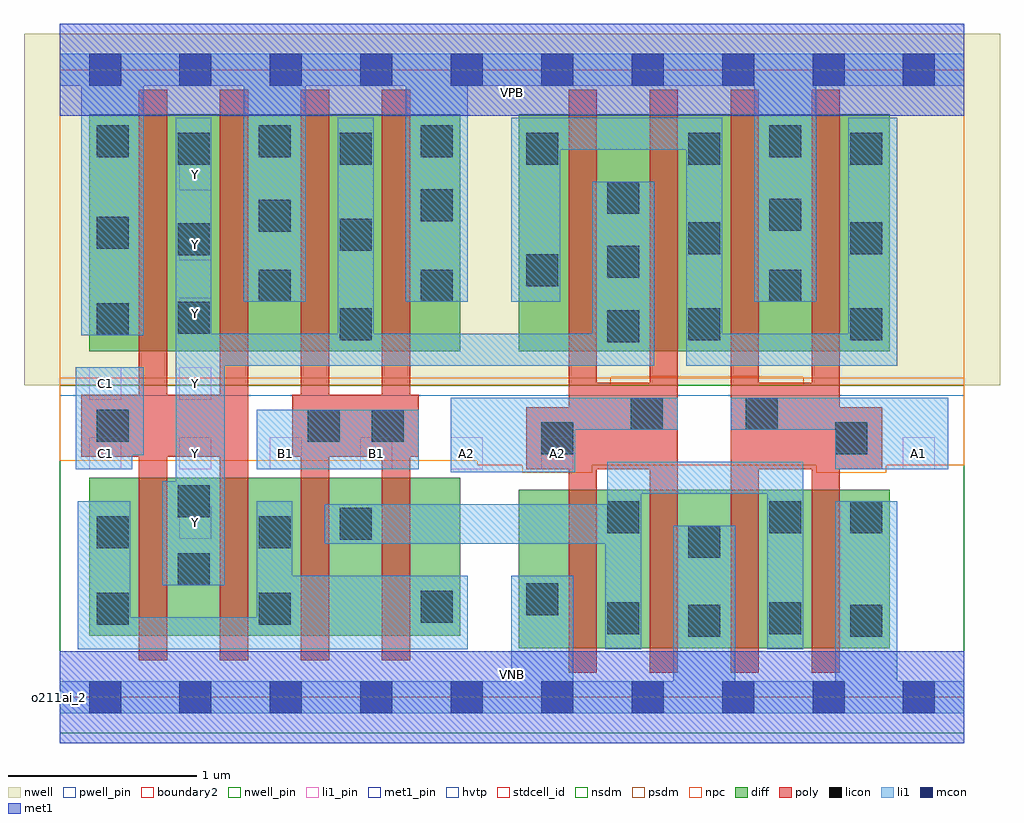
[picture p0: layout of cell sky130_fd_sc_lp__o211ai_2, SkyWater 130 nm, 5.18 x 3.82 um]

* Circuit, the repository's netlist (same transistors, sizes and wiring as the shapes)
* Copyright 2020 The SkyWater PDK Authors
*
* Licensed under the Apache License, Version 2.0 (the "License");
* you may not use this file except in compliance with the License.
* You may obtain a copy of the License at
*
*     https://www.apache.org/licenses/LICENSE-2.0
*
* Unless required by applicable law or agreed to in writing, software
* distributed under the License is distributed on an "AS IS" BASIS,
* WITHOUT WARRANTIES OR CONDITIONS OF ANY KIND, either express or implied.
* See the License for the specific language governing permissions and
* limitations under the License.
*
* SPDX-License-Identifier: Apache-2.0

.SUBCKT sky130_fd_sc_lp__o211ai_2 A1 A2 B1 C1 VGND VNB VPB VPWR Y
*.PININFO A1:I A2:I B1:I C1:I VGND:I VNB:I VPB:I VPWR:I Y:O
MMPA0 VPWR A1 sndA1 VPB sky130_fd_pr__pfet_01v8_hvt m=2 w=1.26U l=0.15U mult=1
+ sa=0.265 sb=0.265 sd=0.28 area=0.063 perim=1.14
MMPA1 sndA1 A2 Y VPB sky130_fd_pr__pfet_01v8_hvt m=2 w=1.26U l=0.15U mult=1 sa=0.265
+ sb=0.265 sd=0.28 area=0.063 perim=1.14
MMPB0 VPWR B1 Y VPB sky130_fd_pr__pfet_01v8_hvt m=2 w=1.26U l=0.15U mult=1 sa=0.265
+ sb=0.265 sd=0.28 area=0.063 perim=1.14
MMPC0 VPWR C1 Y VPB sky130_fd_pr__pfet_01v8_hvt m=2 w=1.26U l=0.15U mult=1 sa=0.265
+ sb=0.265 sd=0.28 area=0.063 perim=1.14
MMNA0 pndA A1 VGND VNB sky130_fd_pr__nfet_01v8 m=2 w=0.84U l=0.15U mult=1 sa=0.265
+ sb=0.265 sd=0.28 area=0.063 perim=1.14
MMNA1 pndA A2 VGND VNB sky130_fd_pr__nfet_01v8 m=2 w=0.84U l=0.15U mult=1 sa=0.265
+ sb=0.265 sd=0.28 area=0.063 perim=1.14
MMNB0 pndB B1 pndA VNB sky130_fd_pr__nfet_01v8 m=2 w=0.84U l=0.15U mult=1 sa=0.265
+ sb=0.265 sd=0.28 area=0.063 perim=1.14
MMNC0 Y C1 pndB VNB sky130_fd_pr__nfet_01v8 m=2 w=0.84U l=0.15U mult=1 sa=0.265
+ sb=0.265 sd=0.28 area=0.063 perim=1.14
.ENDS sky130_fd_sc_lp__o211ai_2

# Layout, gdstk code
import gdstk
lib = gdstk.Library(unit=1e-6, precision=1e-09)
def R(c, l, rs):  # rectangles x0, y0, x1, y1
    for r in rs: c.add(gdstk.rectangle(r[:2], r[2:], *l))
def A(c, l, x, y, w, h, nx, ny, dx, dy):  # array of equal rectangles
    R(c, l, [(x+i*dx, y+j*dy, x+i*dx+w, y+j*dy+h) for i in range(nx) for j in range(ny)])
def P(c, l, *ps):  # polygons
    for p in ps: c.add(gdstk.Polygon(p, *l))
nwell_pin = (64, 16)
nwell = (64, 20)
diff = (65, 20)
poly = (66, 20)
licon = (66, 44)
li1_pin = (67, 16)
li1 = (67, 20)
mcon = (67, 44)
met1_pin = (68, 16)
met1 = (68, 20)
hvtp = (78, 44)
stdcell_id = (81, 4)
nsdm = (93, 44)
psdm = (94, 20)
npc = (95, 20)
pwell_pin = (122, 16)
boundary2 = (236, 0)

sky130_fd_sc_lp__o211ai_ = lib.new_cell('sky130_fd_sc_lp__o211ai_2')
R(sky130_fd_sc_lp__o211ai_, nwell_pin, [(0,3.085,4.8,3.33)])
R(sky130_fd_sc_lp__o211ai_, nwell, [(-0.19,1.655,4.99,3.52)])
R(sky130_fd_sc_lp__o211ai_, diff, [(2.435,0.26,4.405,1.1), (0.155,0.325,2.125,1.165), (0.155,1.835,2.125,3.095), (2.435,1.835,4.405,3.095)])
P(sky130_fd_sc_lp__o211ai_, poly, [(1,3.225),(0.85,3.225),(0.85,1.605),(0.57,1.605),(0.57,3.225),(0.42,3.225),(0.42,1.605),(0.115,1.605),(0.115,1.275),(0.42,1.275),(0.42,0.195),(0.57,0.195),(0.57,1.275),(0.85,1.275),(0.85,0.195),(1,0.195)],
  [(3.28,3.225),(3.13,3.225),(3.13,1.67),(2.85,1.67),(2.85,3.225),(2.7,3.225),(2.7,1.54),(2.475,1.54),(2.475,1.21),(2.7,1.21),(2.7,0.13),(2.85,0.13),(2.85,1.21),(3.13,1.21),(3.13,0.13),(3.28,0.13)],
  [(4.365,1.54),(4.14,1.54),(4.14,3.225),(3.99,3.225),(3.99,1.67),(3.71,1.67),(3.71,3.225),(3.56,3.225),(3.56,0.13),(3.71,0.13),(3.71,1.21),(3.99,1.21),(3.99,0.13),(4.14,0.13),(4.14,1.21),(4.365,1.21)],
  [(1.905,1.605),(1.86,1.605),(1.86,3.225),(1.71,3.225),(1.71,1.605),(1.43,1.605),(1.43,3.225),(1.28,3.225),(1.28,1.605),(1.235,1.605),(1.235,1.275),(1.28,1.275),(1.28,0.195),(1.43,0.195),(1.43,1.275),(1.71,1.275),(1.71,0.195),(1.86,0.195),(1.86,1.275),(1.905,1.275)])
A(sky130_fd_sc_lp__o211ai_, licon, 0.195, 0.79, 0.17, 0.17, 1, 3, 0, 0.565)
A(sky130_fd_sc_lp__o211ai_, licon, 2.905, 1.885, 0.17, 0.17, 1, 3, 0, 0.34)
A(sky130_fd_sc_lp__o211ai_, licon, 2.475, 2.825, 0.17, 0.17, 3, 1, 0.86, 0)
A(sky130_fd_sc_lp__o211ai_, licon, 0.195, 2.865, 0.17, 0.17, 3, 1, 0.86, 0)
R(sky130_fd_sc_lp__o211ai_, licon, [(3.335,0.32,3.505,0.49), (4.195,0.32,4.365,0.49), (2.905,0.335,3.075,0.505), (3.765,0.335,3.935,0.505), (0.195,0.385,0.365,0.555), (1.055,0.385,1.225,0.555), (1.915,0.395,2.085,0.565), (2.475,0.435,2.645,0.605), (0.625,0.595,0.795,0.765), (3.335,0.74,3.505,0.91), (1.055,0.79,1.225,0.96), (1.485,0.835,1.655,1.005), (2.905,0.87,3.075,1.04), (3.765,0.87,3.935,1.04), (4.195,0.87,4.365,1.04), (0.625,0.955,0.795,1.125), (2.555,1.29,2.725,1.46), (4.115,1.29,4.285,1.46), (1.315,1.355,1.485,1.525), (1.655,1.355,1.825,1.525), (3.03,1.42,3.2,1.59), (3.64,1.42,3.81,1.59), (1.485,1.895,1.655,2.065), (3.335,1.895,3.505,2.065), (4.195,1.895,4.365,2.065), (0.625,1.93,0.795,2.1), (1.055,2.1,1.225,2.27), (1.915,2.1,2.085,2.27), (3.765,2.1,3.935,2.27), (2.475,2.18,2.645,2.35), (0.625,2.345,0.795,2.515), (3.335,2.35,3.505,2.52), (4.195,2.35,4.365,2.52), (1.485,2.37,1.655,2.54), (0.195,2.38,0.365,2.55), (1.055,2.47,1.225,2.64), (3.765,2.475,3.935,2.645), (1.915,2.525,2.085,2.695), (0.625,2.825,0.795,2.995), (1.485,2.825,1.655,2.995), (3.765,2.865,3.935,3.035)])
A(sky130_fd_sc_lp__o211ai_, li1_pin, 0.155, 1.21, 0.17, 0.17, 6, 1, 0.48, 0)
A(sky130_fd_sc_lp__o211ai_, li1_pin, 0.635, 1.58, 0.17, 0.17, 1, 4, 0, 0.37)
R(sky130_fd_sc_lp__o211ai_, li1_pin, [(0.635,0.84,0.805,1.01), (4.475,1.21,4.645,1.38), (0.155,1.58,0.325,1.75)])
R(sky130_fd_sc_lp__o211ai_, li1, [(1.045,1.21,1.905,1.525)])
P(sky130_fd_sc_lp__o211ai_, li1, [(0.975,2.1),(0.975,3.245),(0.445,3.245),(0.445,1.92),(0.115,1.92),(0.115,3.245),(0,3.245),(0,3.415),(4.8,3.415),(4.8,3.245),(4.015,3.245),(4.015,2.1),(3.685,2.1),(3.685,3.245),(2.165,3.245),(2.165,2.1),(1.835,2.1),(1.835,3.245),(1.305,3.245),(1.305,2.1)],
  [(3.255,0.085),(3.255,0.91),(3.585,0.91),(3.585,0.085),(4.115,0.085),(4.115,1.04),(4.445,1.04),(4.445,0.085),(4.8,0.085),(4.8,-0.085),(0,-0.085),(0,0.085),(2.395,0.085),(2.395,0.645),(2.725,0.645),(2.725,0.085)],
  [(0.615,3.075),(0.805,3.075),(0.805,1.93),(1.475,1.93),(1.475,3.075),(1.665,3.075),(1.665,1.93),(2.825,1.93),(2.825,2.735),(3.155,2.735),(3.155,1.76),(0.875,1.76),(0.875,0.595),(0.545,0.595),(0.545,1.145),(0.615,1.145)],
  [(3.28,1.59),(2.075,1.59),(2.075,1.195),(2.735,1.195),(2.735,1.42),(3.28,1.42)],
  [(0.445,1.75),(0.085,1.75),(0.085,1.21),(0.385,1.21),(0.385,1.285),(0.445,1.285)],
  [(3.515,1.93),(4.185,1.93),(4.185,3.075),(4.445,3.075),(4.445,1.76),(3.325,1.76),(3.325,2.905),(2.655,2.905),(2.655,2.1),(2.395,2.1),(2.395,3.075),(3.515,3.075)],
  [(3.755,1.08),(3.085,1.08),(3.085,0.255),(2.895,0.255),(2.895,0.815),(1.405,0.815),(1.405,1.025),(2.905,1.025),(2.905,1.25),(3.945,1.25),(3.945,0.255),(3.755,0.255)],
  [(1.235,0.645),(2.165,0.645),(2.165,0.255),(0.095,0.255),(0.095,1.04),(0.375,1.04),(0.375,0.425),(1.045,0.425),(1.045,1.04),(1.235,1.04)],
  [(4.715,1.59),(3.56,1.59),(3.56,1.42),(4.115,1.42),(4.115,1.21),(4.715,1.21)])
A(sky130_fd_sc_lp__o211ai_, mcon, 0.155, -0.085, 0.17, 0.17, 10, 2, 0.48, 3.33)
R(sky130_fd_sc_lp__o211ai_, met1_pin, [(0,0,4.8,0.245), (0,3.085,4.8,3.33)])
R(sky130_fd_sc_lp__o211ai_, met1, [(0,-0.245,4.8,0.245), (0,3.085,4.8,3.575)])
R(sky130_fd_sc_lp__o211ai_, hvtp, [(0,1.6,4.8,3.33)])
R(sky130_fd_sc_lp__o211ai_, stdcell_id, [(0,0,4.8,3.33)])
R(sky130_fd_sc_lp__o211ai_, nsdm, [(0,-0.19,4.8,1.655)])
P(sky130_fd_sc_lp__o211ai_, psdm, [(4.8,3.52),(0,3.52),(0,1.655),(2.925,1.655),(2.925,1.7),(3.945,1.7),(3.945,1.655),(4.8,1.655)])
P(sky130_fd_sc_lp__o211ai_, npc, [(4.8,1.695),(0,1.695),(0,1.255),(2.215,1.255),(2.215,1.23),(2.455,1.23),(2.455,1.19),(2.825,1.19),(2.825,1.23),(4.015,1.23),(4.015,1.19),(4.385,1.19),(4.385,1.23),(4.8,1.23)])
R(sky130_fd_sc_lp__o211ai_, pwell_pin, [(0,0,4.8,0.245)])
R(sky130_fd_sc_lp__o211ai_, boundary2, [(0,0,4.8,3.33)])
sky130_fd_sc_lp__o211ai_.add(gdstk.Label('VNB', (2.4,0.123), layer=64, texttype=59))
sky130_fd_sc_lp__o211ai_.add(gdstk.Label('VPB', (2.4,3.208), layer=64, texttype=5))
sky130_fd_sc_lp__o211ai_.add(gdstk.Label('o211ai_2', (0,0), layer=83, texttype=44))
sky130_fd_sc_lp__o211ai_.add(gdstk.Label('VPWR', (2.4,3.208), layer=68, texttype=5))
sky130_fd_sc_lp__o211ai_.add(gdstk.Label('VGND', (2.4,0.123), layer=68, texttype=5))
sky130_fd_sc_lp__o211ai_.add(gdstk.Label('Y', (0.72,0.925), layer=67, texttype=5))
sky130_fd_sc_lp__o211ai_.add(gdstk.Label('Y', (0.72,1.295), layer=67, texttype=5))
sky130_fd_sc_lp__o211ai_.add(gdstk.Label('Y', (0.72,1.665), layer=67, texttype=5))
sky130_fd_sc_lp__o211ai_.add(gdstk.Label('Y', (0.72,2.035), layer=67, texttype=5))
sky130_fd_sc_lp__o211ai_.add(gdstk.Label('Y', (0.72,2.405), layer=67, texttype=5))
sky130_fd_sc_lp__o211ai_.add(gdstk.Label('Y', (0.72,2.775), layer=67, texttype=5))
sky130_fd_sc_lp__o211ai_.add(gdstk.Label('A1', (4.56,1.295), layer=67, texttype=5))
sky130_fd_sc_lp__o211ai_.add(gdstk.Label('A2', (2.16,1.295), layer=67, texttype=5))
sky130_fd_sc_lp__o211ai_.add(gdstk.Label('A2', (2.64,1.295), layer=67, texttype=5))
sky130_fd_sc_lp__o211ai_.add(gdstk.Label('B1', (1.2,1.295), layer=67, texttype=5))
sky130_fd_sc_lp__o211ai_.add(gdstk.Label('B1', (1.68,1.295), layer=67, texttype=5))
sky130_fd_sc_lp__o211ai_.add(gdstk.Label('C1', (0.24,1.295), layer=67, texttype=5))
sky130_fd_sc_lp__o211ai_.add(gdstk.Label('C1', (0.24,1.665), layer=67, texttype=5))

lib.write_gds('sky130_fd_sc_lp__o211ai_2.gds')
